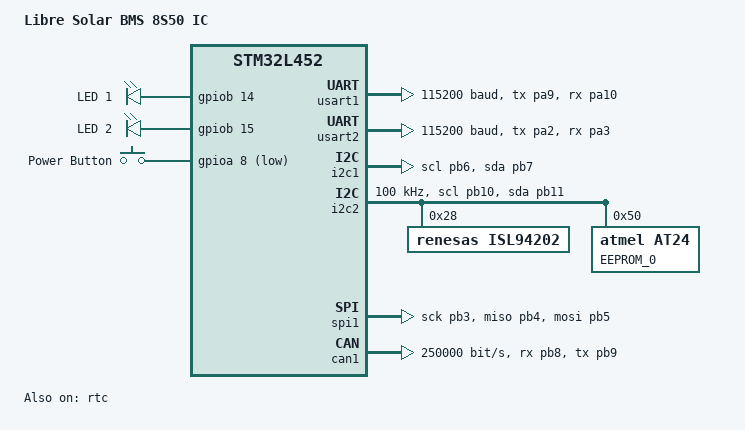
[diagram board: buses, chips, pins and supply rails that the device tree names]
/*
 * Copyright (c) The Libre Solar Project Contributors
 *
 * SPDX-License-Identifier: Apache-2.0
 */

/dts-v1/;

#include <st/l4/stm32l452Xc.dtsi>
#include <st/l4/stm32l452c(c-e)ux-pinctrl.dtsi>

/ {
	model = "Libre Solar BMS 8S50 IC";
	compatible = "st,stm32l452";

	pcb {
		compatible = "bms";

		type = "BMS 8S50 IC";

		num-cells-max = <8>;
		num-thermistors-max = <2>;

		current-max = <50>;

		/*
		 * Additional information:
		 * - Has MOSFET temperature sensor
		 * - PIN_V_EXT     PA_5
		 * - PIN_TEMP_1    PA_6
		 * - PIN_TEMP_2    PA_7
		 */
	};

	chosen {
		zephyr,console = &usart1;
		zephyr,shell-uart = &usart1;
		zephyr,sram = &sram0;
		zephyr,flash = &flash0;
	};

	leds {
		compatible = "gpio-leds";
		led1: led_0 {
			gpios = <&gpiob 14 GPIO_ACTIVE_HIGH>;
			label = "LED 1";
		};
		led2: led_1 {
			gpios = <&gpiob 15 GPIO_ACTIVE_HIGH>;
			label = "LED 2";
		};
	};

	switches {
		compatible = "switch";
		i2c_pullup {
			gpios = <&gpiob 2 GPIO_ACTIVE_HIGH>;
			label = "I2C Pull-Up";
		};
		can_en {
			gpios = <&gpioc 13 GPIO_ACTIVE_LOW>;
			label = "CAN transceiver enable";
		};
	};

	gpio_keys {
		compatible = "gpio-keys";
		power_button: button {
			label = "Power Button";
			gpios = <&gpioa 8 GPIO_ACTIVE_LOW>;
		};
	};

	aliases {
		led-red = &led1;
		led-green = &led2;
		sw-pwr = &power_button;
		uart-dbg = &usart1;
		uart-uext = &usart2;
		i2c-uext = &i2c1;
	};
};

&usart1 {
	pinctrl-0 = <&usart1_tx_pa9 &usart1_rx_pa10>;
	current-speed = <115200>;
	status = "okay";
};

&usart2 {
	pinctrl-0 = <&usart2_tx_pa2 &usart2_rx_pa3>;
	current-speed = <115200>;
	status = "okay";
};

&i2c1 {
	pinctrl-0 = <&i2c1_scl_pb6 &i2c1_sda_pb7>;
	status = "okay";
};

&i2c2 {
	pinctrl-0 = <&i2c2_scl_pb10 &i2c2_sda_pb11>;
	clock-frequency = <I2C_BITRATE_STANDARD>;
	status = "okay";

	isl94202@28 {
		compatible = "renesas,isl94202";
		label = "ISL94202";
		reg = <0x28>;	/* 0x50 >> 1 */
	};

	eeprom@50 {
		// Microchip 24AA32A
		compatible = "atmel,at24";
		reg = <0x50>;
		label = "EEPROM_0";
		size = <32768>;
		pagesize = <32>;
		address-width = <16>;
		/*
		 * timeout of 5 ms as suggested in datasheet seems too optimistic
		 * (several write errors occured during testing)
		 */
		timeout = <7>;
	};
};

&spi1 {
	pinctrl-0 = <&spi1_sck_pb3 &spi1_miso_pb4 &spi1_mosi_pb5>;
	cs-gpios = <&gpioa 15 GPIO_ACTIVE_LOW>;
	status = "okay";
};

&can1 {
	pinctrl-0 = <&can1_rx_pb8 &can1_tx_pb9>;
	bus-speed = <250000>;
	status = "okay";
};

&rtc {
	status = "okay";
};

&flash0 {
	partitions {
		compatible = "fixed-partitions";
		#address-cells = <1>;
		#size-cells = <1>;

		/*
		 * Reserve the final 16 KiB for file system partition
		 */
		storage_partition: partition@3c000 {
			label = "storage";
			reg = <0x0003c000 0x00004000>;
		};
	};
};
